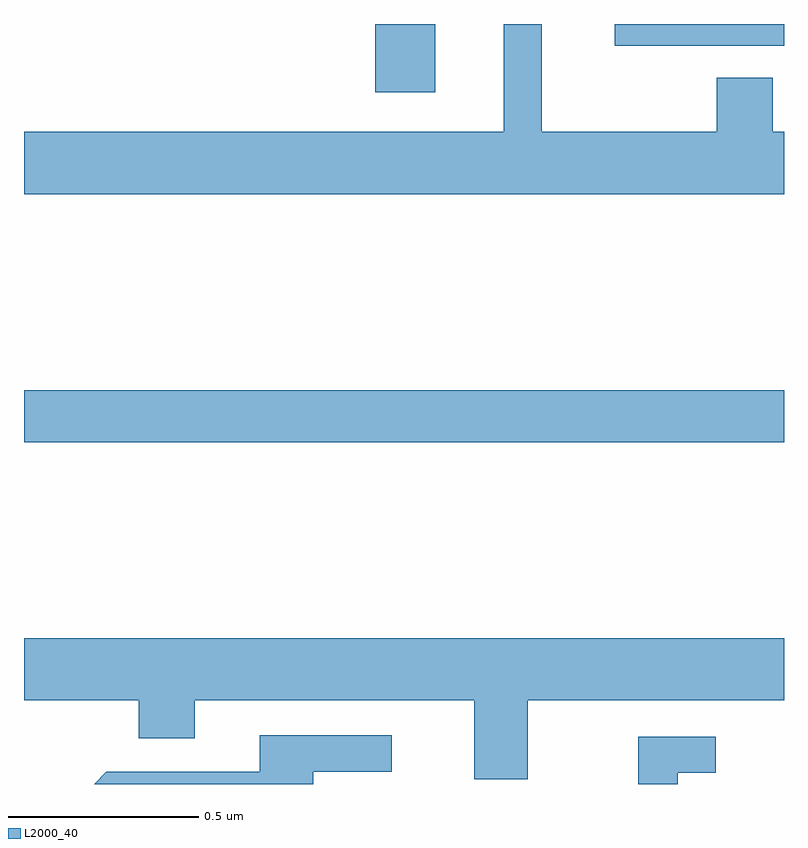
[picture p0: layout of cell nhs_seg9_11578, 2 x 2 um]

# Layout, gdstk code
import gdstk
lib = gdstk.Library(unit=1e-6, precision=1e-09)
def R(c, l, rs):  # rectangles x0, y0, x1, y1
    for r in rs: c.add(gdstk.rectangle(r[:2], r[2:], *l))
def P(c, l, *ps):  # polygons
    for p in ps: c.add(gdstk.Polygon(p, *l))
L2000_40 = (2000, 40)

nhs_seg9_11578 = lib.new_cell('nhs_seg9_11578')
R(nhs_seg9_11578, L2000_40, [(257,1230.4,259,1230.536), (257.924,1231.32,258.082,1231.5), (258.554,1231.443,259,1231.5)])
P(nhs_seg9_11578, L2000_40, [(259,1231.216),(258.97,1231.216),(258.97,1231.358),(258.823,1231.358),(258.823,1231.216),(258.362,1231.216),(258.362,1231.5),(258.263,1231.5),(258.263,1231.216),(257,1231.216),(257,1231.052),(259,1231.052)],
  [(258.325,1229.72),(259,1229.72),(259,1229.884),(257,1229.884),(257,1229.72),(257.302,1229.72),(257.302,1229.621),(257.449,1229.621),(257.449,1229.72),(258.185,1229.72),(258.185,1229.512),(258.325,1229.512)],
  [(257.761,1229.532),(257.968,1229.532),(257.968,1229.628),(257.621,1229.628),(257.621,1229.532),(257.217,1229.532),(257.185,1229.5),(257.761,1229.5)],
  [(258.721,1229.529),(258.82,1229.529),(258.82,1229.625),(258.617,1229.625),(258.617,1229.5),(258.721,1229.5)])

lib.write_gds('nhs_seg9_11578.gds')
